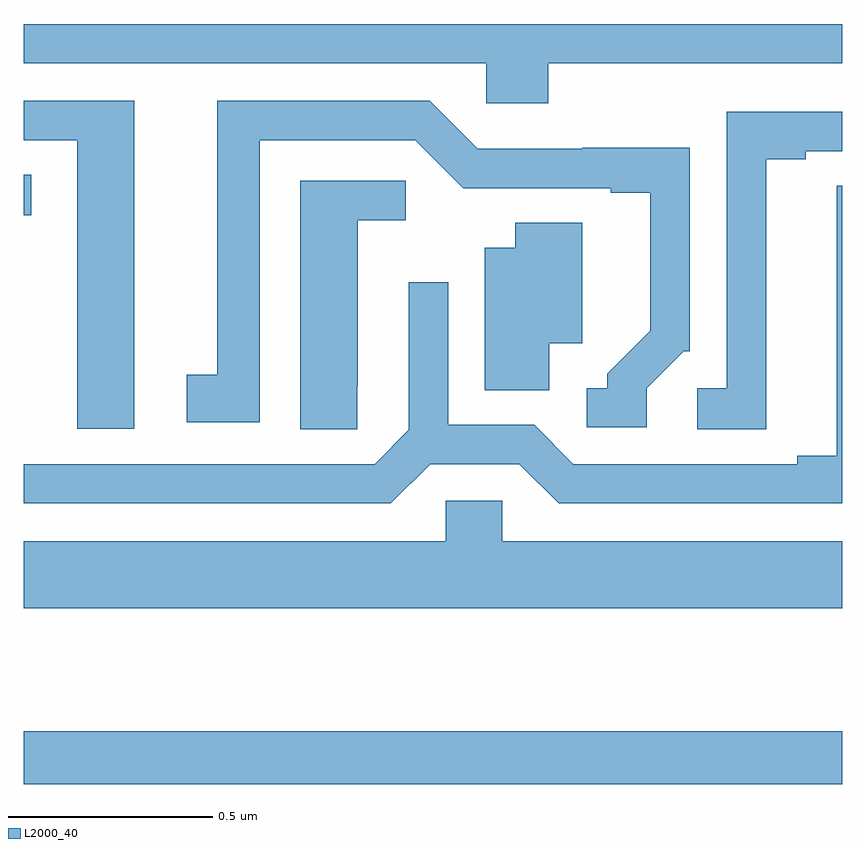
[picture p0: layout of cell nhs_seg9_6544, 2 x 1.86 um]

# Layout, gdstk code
import gdstk
lib = gdstk.Library(unit=1e-6, precision=1e-09)
def R(c, l, rs):  # rectangles x0, y0, x1, y1
    for r in rs: c.add(gdstk.rectangle(r[:2], r[2:], *l))
def P(c, l, *ps):  # polygons
    for p in ps: c.add(gdstk.Polygon(p, *l))
L2000_40 = (2000, 40)

nhs_seg9_6544 = lib.new_cell('nhs_seg9_6544')
R(nhs_seg9_6544, L2000_40, [(193,1210.642,195,1210.771), (193,1212.033,193.018,1212.131)])
P(nhs_seg9_6544, L2000_40, [(194.282,1212.404),(195,1212.404),(195,1212.5),(193,1212.5),(193,1212.404),(194.13,1212.404),(194.13,1212.306),(194.282,1212.306)],
  [(193.27,1212.312),(193,1212.312),(193,1212.216),(193.13,1212.216),(193.13,1211.511),(193.27,1211.511)],
  [(194.523,1211.61),(194.613,1211.7),(194.628,1211.7),(194.628,1212.197),(194.365,1212.197),(194.365,1212.195),(194.109,1212.195),(193.992,1212.312),(193.472,1212.312),(193.472,1211.642),(193.398,1211.642),(193.398,1211.526),(193.576,1211.526),(193.576,1212.216),(193.956,1212.216),(194.074,1212.098),(194.17,1212.098),(194.17,1212.099),(194.435,1212.099),(194.435,1212.087),(194.531,1212.087),(194.531,1211.75),(194.426,1211.645),(194.426,1211.61),(194.376,1211.61),(194.376,1211.514),(194.523,1211.514)],
  [(194.815,1212.169),(194.911,1212.169),(194.911,1212.189),(195,1212.189),(195,1212.285),(194.718,1212.285),(194.718,1211.61),(194.646,1211.61),(194.646,1211.509),(194.815,1211.509)],
  [(193.815,1211.617),(193.816,1211.617),(193.816,1212.02),(193.933,1212.02),(193.933,1212.117),(193.676,1212.117),(193.676,1211.509),(193.815,1211.509)],
  [(193.993,1211.424),(194.211,1211.424),(194.307,1211.328),(195,1211.328),(195,1212.104),(194.987,1212.104),(194.987,1211.444),(194.891,1211.444),(194.891,1211.424),(194.343,1211.424),(194.247,1211.52),(194.037,1211.52),(194.037,1211.869),(193.941,1211.869),(193.941,1211.508),(193.857,1211.424),(193,1211.424),(193,1211.328),(193.897,1211.328)],
  [(194.284,1211.72),(194.365,1211.72),(194.365,1212.014),(194.201,1212.014),(194.201,1211.953),(194.126,1211.953),(194.126,1211.605),(194.284,1211.605)],
  [(194.031,1211.334),(194.031,1211.236),(193,1211.236),(193,1211.072),(195,1211.072),(195,1211.236),(194.169,1211.236),(194.169,1211.334)])

lib.write_gds('nhs_seg9_6544.gds')
